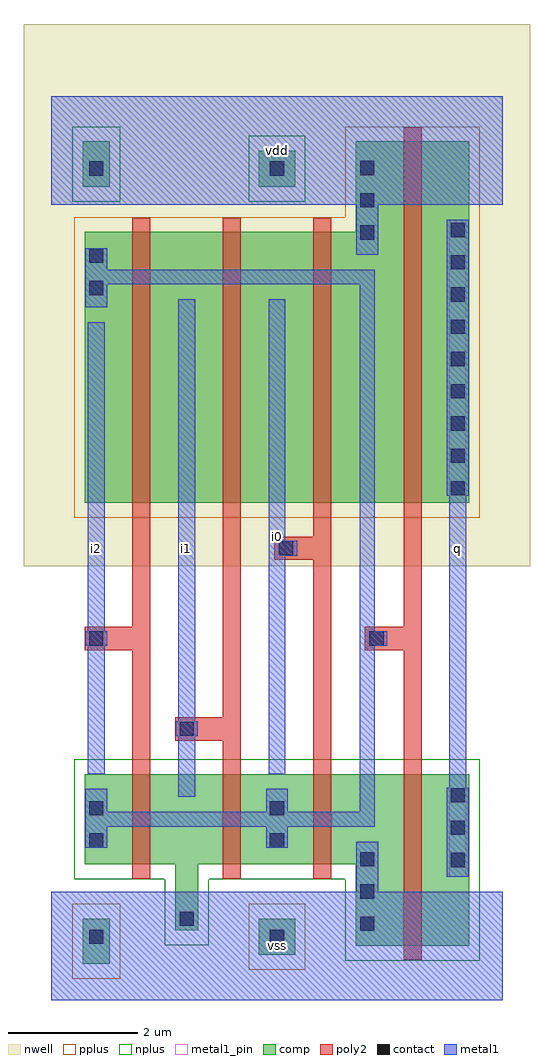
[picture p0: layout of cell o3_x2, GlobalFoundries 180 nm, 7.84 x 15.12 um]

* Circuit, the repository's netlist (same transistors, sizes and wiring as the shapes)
* o3_x2
.subckt o3_x2 vdd q vss i0 i1 i2
Mp_net1_1 vdd _net1 q vdd pfet_03v3 l=0.28um w=5.6um
Mn_net1_1 vss _net1 q vss nfet_03v3 l=0.28um w=2.66um
Mn_i0_1 _net1 i0 vss vss nfet_03v3 l=0.28um w=1.4um
Mp_i0_1 _net2 i0 vdd vdd pfet_03v3 l=0.28um w=4.2um
Mn_i1_1 vss i1 _net1 vss nfet_03v3 l=0.28um w=1.4um
Mp_i1_1 _net0 i1 _net2 vdd pfet_03v3 l=0.28um w=4.2um
Mp_i2_1 _net1 i2 _net0 vdd pfet_03v3 l=0.28um w=4.2um
Mn_i2_1 _net1 i2 vss vss nfet_03v3 l=0.28um w=1.4um
.ends o3_x2

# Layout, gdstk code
import gdstk
lib = gdstk.Library(unit=1e-6, precision=1e-09)
def R(c, l, rs):  # rectangles x0, y0, x1, y1
    for r in rs: c.add(gdstk.rectangle(r[:2], r[2:], *l))
def A(c, l, x, y, w, h, nx, ny, dx, dy):  # array of equal rectangles
    R(c, l, [(x+i*dx, y+j*dy, x+i*dx+w, y+j*dy+h) for i in range(nx) for j in range(ny)])
def P(c, l, *ps):  # polygons
    for p in ps: c.add(gdstk.Polygon(p, *l))
nwell = (21, 0)
comp = (22, 0)
poly2 = (30, 0)
pplus = (31, 0)
nplus = (32, 0)
contact = (33, 0)
metal1 = (34, 0)
metal1_pin = (34, 10)

o3_x2 = lib.new_cell('o3_x2')
R(o3_x2, nwell, [(-0.42,6.72,7.42,15.12)])
R(o3_x2, comp, [(0.49,0.56,0.91,1.26), (3.22,0.7,3.78,1.26), (0.49,12.6,0.91,13.3), (3.22,12.6,3.78,13.16)])
P(o3_x2, comp, [(0.52,7.7),(0.52,11.9),(4.72,11.9),(4.72,13.3),(6.48,13.3),(6.48,7.7)],
  [(4.72,0.84),(4.72,2.1),(2.28,2.1),(2.28,1.08),(1.92,1.08),(1.92,2.1),(0.52,2.1),(0.52,3.5),(6.48,3.5),(6.48,0.84)])
P(o3_x2, poly2, [(5.46,0.62),(5.46,5.42),(4.86,5.42),(4.86,5.78),(5.46,5.78),(5.46,13.52),(5.74,13.52),(5.74,0.62)],
  [(4.06,1.88),(4.06,6.82),(3.46,6.82),(3.46,7.18),(4.06,7.18),(4.06,12.12),(4.34,12.12),(4.34,1.88)],
  [(2.66,1.88),(2.66,4.02),(1.92,4.02),(1.92,4.38),(2.66,4.38),(2.66,12.12),(2.94,12.12),(2.94,1.88)],
  [(1.26,1.88),(1.26,5.42),(0.52,5.42),(0.52,5.78),(1.26,5.78),(1.26,12.12),(1.54,12.12),(1.54,1.88)])
R(o3_x2, pplus, [(0.33,0.33,1.07,1.49), (3.06,0.47,3.94,1.49)])
P(o3_x2, pplus, [(0.36,7.47),(0.36,12.13),(4.56,12.13),(4.56,13.53),(6.64,13.53),(6.64,7.47)])
R(o3_x2, nplus, [(0.33,12.37,1.07,13.53), (3.06,12.37,3.94,13.39)])
P(o3_x2, nplus, [(4.56,0.61),(4.56,1.87),(2.44,1.87),(2.44,0.85),(1.76,0.85),(1.76,1.87),(0.36,1.87),(0.36,3.73),(6.64,3.73),(6.64,0.61)])
A(o3_x2, contact, 4.79, 1.07, 0.22, 0.22, 1, 3, 0, 0.5)
A(o3_x2, contact, 6.19, 2.06, 0.22, 0.22, 1, 3, 0, 0.5)
A(o3_x2, contact, 6.19, 7.82, 0.22, 0.22, 1, 9, 0, 0.5)
A(o3_x2, contact, 4.79, 11.78, 0.22, 0.22, 1, 3, 0, 0.5)
R(o3_x2, contact, [(0.59,0.87,0.81,1.09), (3.39,0.87,3.61,1.09), (1.99,1.15,2.21,1.37), (0.59,2.36,0.81,2.58), (3.39,2.36,3.61,2.58), (0.59,2.86,0.81,3.08), (3.39,2.86,3.61,3.08), (1.99,4.09,2.21,4.31), (0.59,5.49,0.81,5.71), (4.93,5.49,5.15,5.71), (3.53,6.89,3.75,7.11), (0.59,10.92,0.81,11.14), (0.59,11.42,0.81,11.64), (0.59,12.77,0.81,12.99), (3.39,12.77,3.61,12.99)])
P(o3_x2, metal1, [(4.73,11.545),(4.73,12.32),(0,12.32),(0,14),(7,14),(7,12.32),(5.07,12.32),(5.07,11.545)],
  [(6.13,1.91),(6.13,3.285),(6.17,3.285),(6.17,7.815),(6.13,7.815),(6.13,12.09),(6.47,12.09),(6.47,7.815),(6.43,7.815),(6.43,3.285),(6.47,3.285),(6.47,1.91)],
  [(0.53,2.355),(0.53,3.27),(0.87,3.27),(0.87,2.915),(3.33,2.915),(3.33,3.27),(3.67,3.27),(3.67,2.915),(4.785,2.915),(4.785,11.085),(0.87,11.085),(0.87,10.73),(0.53,10.73),(0.53,11.645),(0.87,11.645),(0.87,11.315),(5.015,11.315),(5.015,5.715),(5.21,5.715),(5.21,5.485),(5.015,5.485),(5.015,2.685),(3.67,2.685),(3.67,2.355),(3.33,2.355),(3.33,2.685),(0.87,2.685),(0.87,2.355)],
  [(0,0),(0,1.68),(4.73,1.68),(4.73,2.455),(5.07,2.455),(5.07,1.68),(7,1.68),(7,0)],
  [(3.37,3.5),(3.37,10.855),(3.63,10.855),(3.63,7.115),(3.81,7.115),(3.81,6.885),(3.63,6.885),(3.63,3.5)],
  [(1.97,3.145),(1.97,4.085),(1.93,4.085),(1.93,4.315),(1.97,4.315),(1.97,10.855),(2.23,10.855),(2.23,4.315),(2.27,4.315),(2.27,4.085),(2.23,4.085),(2.23,3.145)],
  [(0.57,3.5),(0.57,5.485),(0.53,5.485),(0.53,5.715),(0.57,5.715),(0.57,10.5),(0.83,10.5),(0.83,5.715),(0.87,5.715),(0.87,5.485),(0.83,5.485),(0.83,3.5)])
R(o3_x2, metal1_pin, [(0,0,7,1.68), (6.17,1.91,6.43,12.09), (1.97,3.145,2.23,10.855), (0.57,3.5,0.83,10.5), (3.37,3.5,3.63,10.855), (0,12.32,7,14)])
o3_x2.add(gdstk.Label('vdd', (3.5,13.16), layer=34, texttype=10))
o3_x2.add(gdstk.Label('q', (6.3,7), layer=34, texttype=10))
o3_x2.add(gdstk.Label('vss', (3.5,0.84), layer=34, texttype=10))
o3_x2.add(gdstk.Label('i0', (3.5,7.177), layer=34, texttype=10))
o3_x2.add(gdstk.Label('i1', (2.1,7), layer=34, texttype=10))
o3_x2.add(gdstk.Label('i2', (0.7,7), layer=34, texttype=10))

lib.write_gds('o3_x2.gds')
